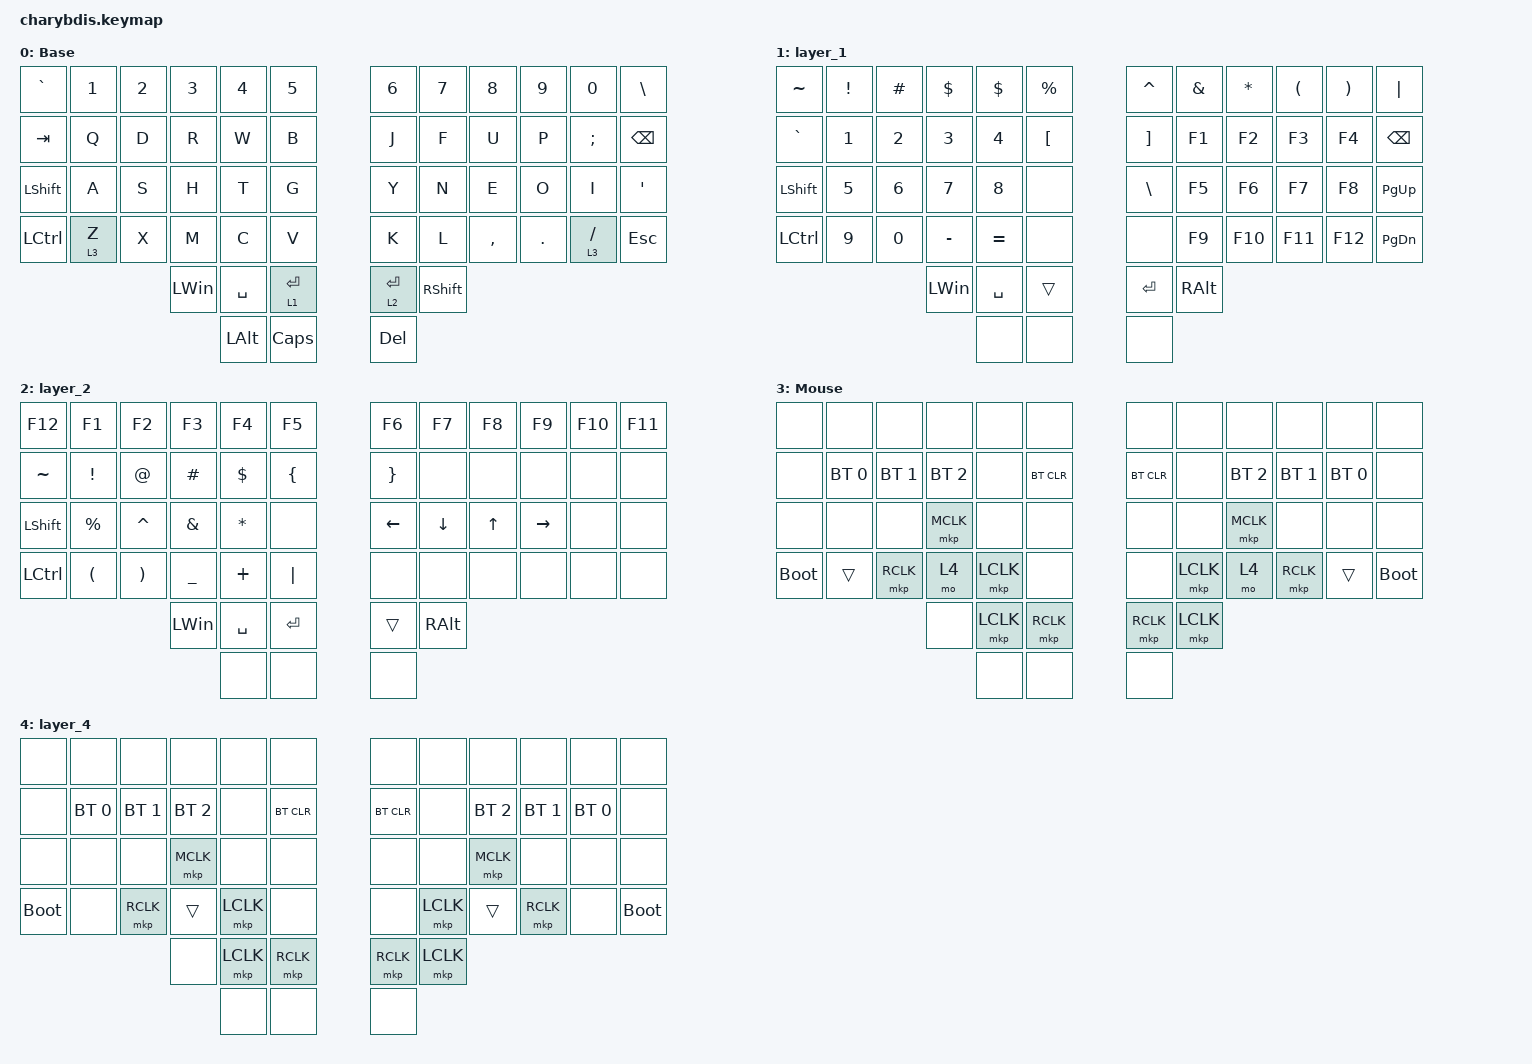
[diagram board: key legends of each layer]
#include <dt-bindings/zmk/mouse.h>
#include <behaviors.dtsi>
#include <dt-bindings/zmk/bt.h>
#include <dt-bindings/zmk/keys.h>
#include <dt-bindings/zmk/pointing.h>

&lt {
    tapping-term-ms = <200>;
    flavor = "balanced";
    quick-tap-ms = <150>;
};

/ {
    combos { compatible = "zmk,combos"; };

    keymap {
        compatible = "zmk,keymap";

        Base {
            bindings = <
&kp GRAVE       &kp N1   &kp N2  &kp N3        &kp N4        &kp N5          &kp N6       &kp N7           &kp N8     &kp N9   &kp N0         &kp BACKSLASH
&kp TAB         &kp Q    &kp D   &kp R         &kp W         &kp B           &kp J        &kp F            &kp U      &kp P    &kp SEMICOLON  &kp BACKSPACE
&kp LEFT_SHIFT  &kp A    &kp S   &kp H         &kp T         &kp G           &kp Y        &kp N            &kp E      &kp O    &kp I          &kp APOS
&kp LCTRL       &lt 3 Z  &kp X   &kp M         &kp C         &kp V           &kp K        &kp L            &kp COMMA  &kp DOT  &lt 3 SLASH    &kp ESCAPE
                                 &kp LEFT_WIN  &kp SPACE     &lt 1 ENTER     &lt 2 ENTER  &kp RIGHT_SHIFT
                                               &kp LEFT_ALT  &kp CAPSLOCK    &kp DELETE
            >;
        };

        layer_1 {
            bindings = <
&kp TILDE  &kp EXCLAMATION  &kp HASH      &kp DOLLAR    &kp DOLLAR    &kp PERCENT    &kp CARET      &kp AMPERSAND  &kp ASTERISK  &kp LEFT_PARENTHESIS  &kp RIGHT_PARENTHESIS  &kp PIPE
&kp GRAVE  &kp NUMBER_1     &kp NUMBER_2  &kp NUMBER_3  &kp NUMBER_4  &kp LBKT       &kp RBKT       &kp F1         &kp F2        &kp F3                &kp F4                 &kp BACKSPACE
&kp LSHFT  &kp NUMBER_5     &kp NUMBER_6  &kp NUMBER_7  &kp NUMBER_8  &none          &kp BACKSLASH  &kp F5         &kp F6        &kp F7                &kp F8                 &kp PAGE_UP
&kp LCTRL  &kp NUMBER_9     &kp NUMBER_0  &kp MINUS     &kp EQUAL     &none          &none          &kp F9         &kp F10       &kp F11               &kp F12                &kp PAGE_DOWN
                                          &kp LEFT_WIN  &kp SPACE     &trans         &kp ENTER      &kp RIGHT_ALT
                                                        &none         &none          &none
            >;
        };

        layer_2 {
            bindings = <
&kp F12    &kp F1                &kp F2                 &kp F3          &kp F4        &kp F5            &kp F6           &kp F7          &kp F8  &kp F9           &kp F10  &kp F11
&kp TILDE  &kp EXCLAMATION       &kp AT_SIGN            &kp HASH        &kp DOLLAR    &kp LEFT_BRACE    &kp RIGHT_BRACE  &none           &none   &none            &none    &none
&kp LSHFT  &kp PERCENT           &kp CARET              &kp AMPERSAND   &kp ASTERISK  &none             &kp LEFT_ARROW   &kp DOWN_ARROW  &kp UP  &kp RIGHT_ARROW  &none    &none
&kp LCTRL  &kp LEFT_PARENTHESIS  &kp RIGHT_PARENTHESIS  &kp UNDERSCORE  &kp PLUS      &kp PIPE          &none            &none           &none   &none            &none    &none
                                                        &kp LEFT_WIN    &kp SPACE     &kp ENTER         &trans           &kp RIGHT_ALT
                                                                        &none         &none             &none
            >;
        };

        Mouse {
            bindings = <
&none        &none         &none         &none         &none      &none         &none       &none      &none         &none         &none         &none
&none        &bt BT_SEL 0  &bt BT_SEL 1  &bt BT_SEL 2  &none      &bt BT_CLR    &bt BT_CLR  &none      &bt BT_SEL 2  &bt BT_SEL 1  &bt BT_SEL 0  &none
&none        &none         &none         &mkp MCLK     &none      &none         &none       &none      &mkp MCLK     &none         &none         &none
&bootloader  &trans        &mkp RCLK     &mo 4         &mkp LCLK  &none         &none       &mkp LCLK  &mo 4         &mkp RCLK     &trans        &bootloader
                                         &none         &mkp LCLK  &mkp RCLK     &mkp RCLK   &mkp LCLK
                                                       &none      &none         &none
            >;
        };

        layer_4 {
            bindings = <
&none        &none         &none         &none         &none      &none         &none       &none      &none         &none         &none         &none
&none        &bt BT_SEL 0  &bt BT_SEL 1  &bt BT_SEL 2  &none      &bt BT_CLR    &bt BT_CLR  &none      &bt BT_SEL 2  &bt BT_SEL 1  &bt BT_SEL 0  &none
&none        &none         &none         &mkp MCLK     &none      &none         &none       &none      &mkp MCLK     &none         &none         &none
&bootloader  &none         &mkp RCLK     &trans        &mkp LCLK  &none         &none       &mkp LCLK  &trans        &mkp RCLK     &none         &bootloader
                                         &none         &mkp LCLK  &mkp RCLK     &mkp RCLK   &mkp LCLK
                                                       &none      &none         &none
            >;
        };
    };
};
